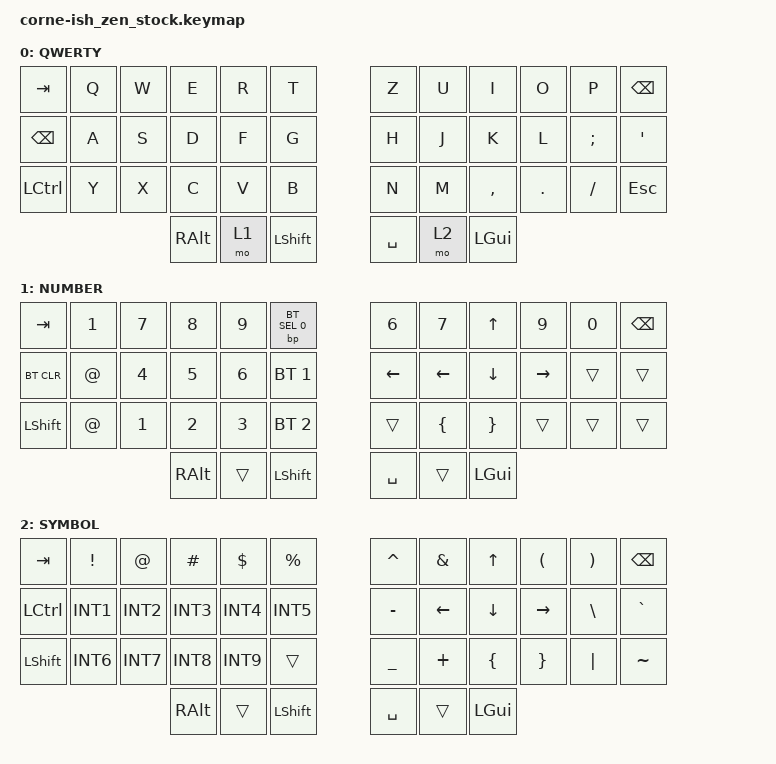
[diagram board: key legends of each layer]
/*
*
* Copyright (c) 2021 Darryl deHaan
* SPDX-License-Identifier: MIT
*
*/

#include <behaviors.dtsi>
#include <dt-bindings/zmk/keys.h>
#include <dt-bindings/zmk/bt.h>

/ {
        keymap {
                compatible = "zmk,keymap";

                default_layer {
                        label = "QWERTY";
// -----------------------------------------------------------------------------------------
// |  TAB |  Q  |  W  |  E  |  R  |  T  |   |  Y  |  U   |  I  |  O  |  P  | BKSP |
// | CTRL |  A  |  S  |  D  |  F  |  G  |   |  H  |  J   |  K  |  L  |  ;  |  '   |
// | SHFT |  Z  |  X  |  C  |  V  |  B  |   |  N  |  M   |  ,  |  .  |  /  | ESC  |
//                    | GUI | LWR | SPC |   | ENT | RSE  | ALT |
                        bindings = <
   &kp TAB   &kp Q &kp W &kp E &kp R &kp T   &kp Z &kp U  &kp I     &kp O   &kp P    &kp BSPC
   &kp BSPC  &kp A &kp S &kp D &kp F &kp G   &kp H &kp J  &kp K     &kp L   &kp SEMI &kp SQT
   &kp LCTRL &kp Y &kp X &kp C &kp V &kp B   &kp N &kp M  &kp COMMA &kp DOT &kp FSLH &kp ESC
                  &kp RALT &mo 1 &kp LSHFT   &kp SPACE &mo 2 &kp LGUI
                        >;
                };
                lower_layer {
                        label = "NUMBER";
// -----------------------------------------------------------------------------------------
// |  ESC |  1  |  2  |  3  |  4  |  5  |   |  6  |  7  |  8  |  9  |  0  | BKSP |
// | BTCLR| BT1 | BT2 | BT3 | BT4 | BT5 |   | LFT | DWN |  UP | RGT |     |      |
// | SHFT |     |     |     |     |     |   |     |     |     |     |     |      |
//                    | GUI |     | SPC |   | ENT |     | ALT |
                        bindings = <
   &kp TAB    &kp N1       &kp N7       &kp N8       &kp N9       &bp BT_SEL 0   &kp N6   &kp N7   &kp UP   &kp N9    &kp N0 &kp BSPC
   &bt BT_CLR &kp AT       &kp N4       &kp N5       &kp N6       &bt BT_SEL 1   &kp LEFT &kp LEFT &kp DOWN &kp RIGHT &trans &trans
   &kp LSHFT  &kp AT       &kp N1       &kp N2       &kp N3       &bt BT_SEL 2   &trans   &kp LBRC &kp RBRC &trans    &trans &trans
                          	        &kp RALT     &trans       &kp LSHFT      &kp SPACE  &trans   &kp LGUI
                        >;
                };

                raise_layer {
                        label = "SYMBOL";
// -----------------------------------------------------------------------------------------
// |  ESC |  !  |  @  |  #  |  $  |  %  |   |  ^  |  &  |  *  |  (  |  )  | BKSP |
// | CTRL |INT1 |INT2 |INT3 |INT4 |INT5 |   |  -  |  =  |  [  |  ]  |  \  |  `   |
// | SHFT |INT6 |INT7 |INT8 |INT9 |     |   |  _  |  +  |  {  |  }  | "|" |  ~   |
//                    | GUI |     | SPC |   | ENT |     | ALT |
                        bindings = <
   &kp  TAB    &kp EXCL   &kp AT     &kp HASH   &kp DLLR   &kp PRCNT     &kp CARET &kp AMPS  &kp UP     &kp LPAR &kp RPAR &kp BSPC
   &kp LCTRL   &kp INT1   &kp INT2   &kp INT3   &kp INT4   &kp INT5      &kp MINUS &kp LEFT  &kp DOWN   &kp RIGHT &kp BSLH &kp GRAVE
   &kp LSHFT   &kp INT6   &kp INT7   &kp INT8   &kp INT9   &trans        &kp UNDER &kp PLUS  &kp LBRC   &kp RBRC &kp PIPE &kp TILDE
                    	     &kp RALT &trans   &kp LSHFT   &kp SPACE   &trans    &kp LGUI
                        >;
                };
        };
};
